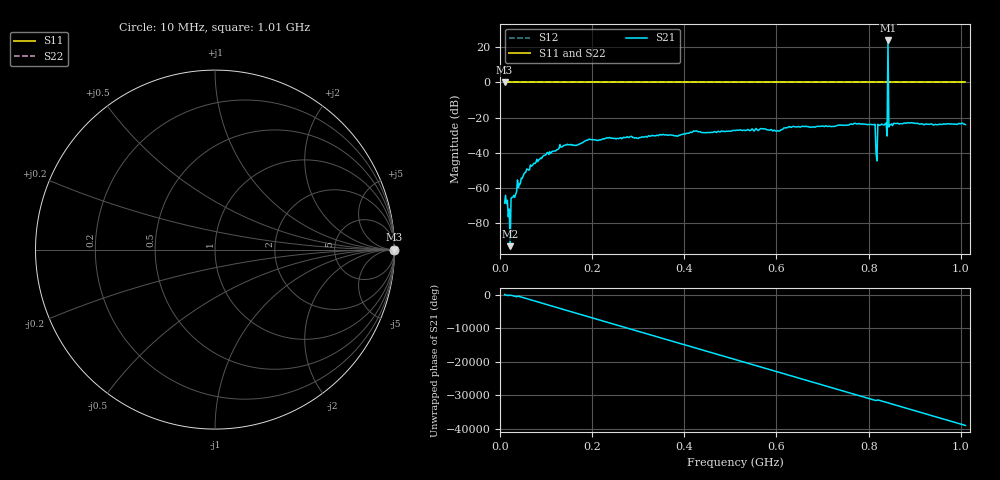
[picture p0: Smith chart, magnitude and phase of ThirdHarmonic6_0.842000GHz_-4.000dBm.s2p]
! 8/16/2025 3:53:59 AM
! C:\ANRITSUVNA\TEMP\TEMP.S2P
! CHANNEL.1
! TR.MEASUREMENT
! RAW.DATA
! RF.CORRECTION.OFF
! AVERAGING.OFF
! IF.BANDWIDTH: 5KHZ
! SWEEPTYPE:  FREQ.SWEEP(Linear)
! Reference Plane Port Info
! PORT:  PORT1  PORT2
! DISTANCE:  0  m  0  m
! TIME:  0  s  0  s
! PHASE.OFFSET:  0  deg.  0  deg.
! LOSS:  0  dB  0  dB
! REF.LOSS:  0  dB  0  dB
! REF.FREQ:  0  Hz  0  Hz
! Power Info
! POWER:  -20  dBm  -20  dBm
! EFF.POWER:  -20  dBm  -20  dBm
! SOURCE.ATTEN:  0  dB  0  dB
! TEST.ATTEN:  0  dB  0  dB
# GHZ S RI R 50.0
! FREQ.GHZ  S11RE  S11IM  S21RE  S21IM  S12RE  S12IM  S22RE  S22IM
!; PortSelection: Port_12
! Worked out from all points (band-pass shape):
!   501 points, 10 MHz to 1.01 GHz, reference 50 ohm
!   highest |S21| = 23.90 dB at 842 MHz (marker M1); lowest = -93.1 dB at 22 MHz (marker M2)
!   |S21| within 3 dB of the highest: 841.8896 MHz to 842.1219 MHz (232.3 kHz wide, 0.0276 % of centre)
!   lowest |S11| = 0.0 dB at 10 MHz (marker M3)
!   |S11| at or under -10 dB: nowhere
!   |S22| runs from 0.0 to 0.0 dB; largest |S21 - S12| = 17
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0.01  1 0  -0.000362 8.67e-05  1 0  1 0
0.018  1 0  -0.000147 -3.64e-05  1 0  1 0
0.022  1 0  -6e-07 -2.22e-05  1 0  1 0
0.028  1 0  -0.000523 0.000152  1 0  1 0
0.042  1 0  0.00108 -0.00073  1 0  1 0
0.07  1 0  -0.0014 -0.0041  1 0  1 0
0.134  1 0  -0.0145 0.00273  1 0  1 0
0.178  1 0  -0.0185 -0.0047  1 0  1 0
0.344  1 0  0.0302 -0.00539  1 0  1 0
0.51  1 0  -0.0409 0.0135  1 0  1 0
0.678  1 0  -0.02 -0.05  1 0  1 0
0.81  1 0  0.0557 -0.0298  1 0  1 0
0.814  1 0  -0.0634 0.011  1 0  1 0
0.82  1 0  0.0258 -0.0592  1 0  1 0
0.824  1 0  -0.0391 0.0461  1 0  1 0
0.836  1 0  0.0651 0.0153  1 0  1 0
0.838  1 0  0.0249 -0.0656  1 0  1 0
0.842  1 0  -14.24 -6.542  1 0  1 0
0.844  1 0  0.041 0.0355  1 0  1 0
0.846  1 0  0.0496 -0.0377  1 0  1 0
0.848  1 0  -0.0257 -0.0578  1 0  1 0
1.01  1 0  -0.0591 -0.0238  1 0  1 0
